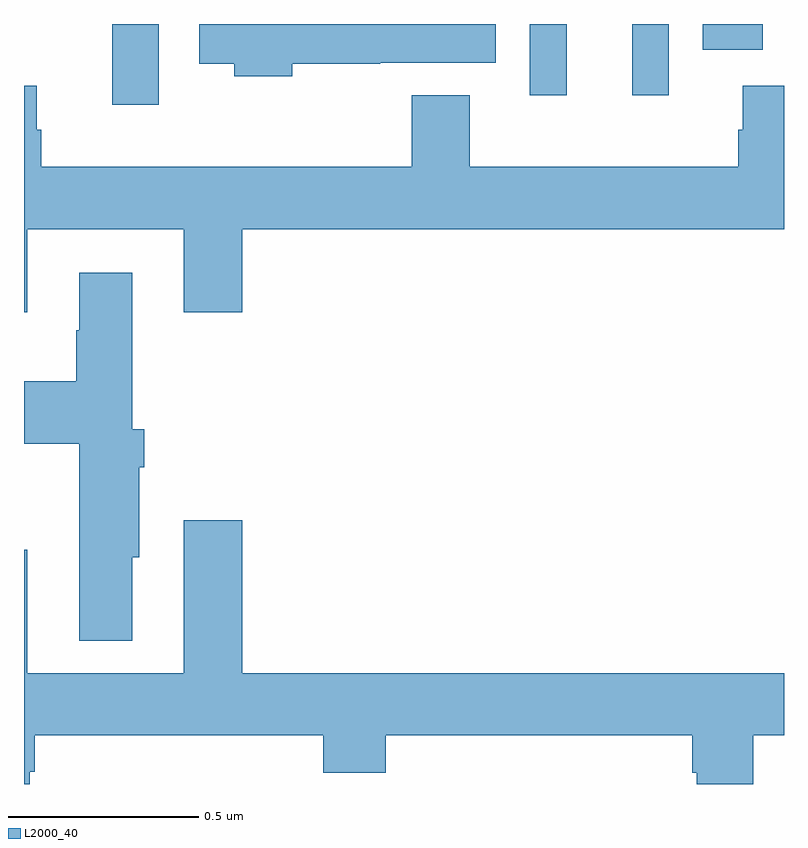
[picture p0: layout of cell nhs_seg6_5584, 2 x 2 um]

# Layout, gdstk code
import gdstk
lib = gdstk.Library(unit=1e-6, precision=1e-09)
def R(c, l, rs):  # rectangles x0, y0, x1, y1
    for r in rs: c.add(gdstk.rectangle(r[:2], r[2:], *l))
def P(c, l, *ps):  # polygons
    for p in ps: c.add(gdstk.Polygon(p, *l))
L2000_40 = (2000, 40)

nhs_seg6_5584 = lib.new_cell('nhs_seg6_5584')
R(nhs_seg6_5584, L2000_40, [(184.232,990.288,184.354,990.5), (185.331,990.312,185.428,990.5), (185.6,990.312,185.697,990.5), (185.786,990.432,185.944,990.5)])
P(nhs_seg6_5584, L2000_40, [(184.706,990.396),(184.937,990.396),(184.937,990.398),(185.241,990.398),(185.241,990.5),(184.461,990.5),(184.461,990.396),(184.553,990.396),(184.553,990.362),(184.706,990.362)],
  [(184.009,989.96),(184.421,989.96),(184.421,989.742),(184.574,989.742),(184.574,989.96),(186,989.96),(186,990.337),(185.891,990.337),(185.891,990.222),(185.879,990.222),(185.879,990.124),(185.173,990.124),(185.173,990.313),(185.021,990.313),(185.021,990.124),(184.046,990.124),(184.046,990.222),(184.033,990.222),(184.033,990.337),(184,990.337),(184,989.742),(184.009,989.742)],
  [(184.285,989.097),(184.303,989.097),(184.303,989.333),(184.316,989.333),(184.316,989.433),(184.285,989.433),(184.285,989.845),(184.145,989.845),(184.145,989.694),(184.138,989.694),(184.138,989.56),(184,989.56),(184,989.396),(184.145,989.396),(184.145,988.877),(184.285,988.877)],
  [(184.009,989.116),(184,989.116),(184,988.5),(184.015,988.5),(184.015,988.532),(184.028,988.532),(184.028,988.628),(184.787,988.628),(184.787,988.529),(184.952,988.529),(184.952,988.628),(185.759,988.628),(185.759,988.53),(185.771,988.53),(185.771,988.5),(185.919,988.5),(185.919,988.628),(186,988.628),(186,988.792),(184.574,988.792),(184.574,989.194),(184.421,989.194),(184.421,988.792),(184.009,988.792)])

lib.write_gds('nhs_seg6_5584.gds')
